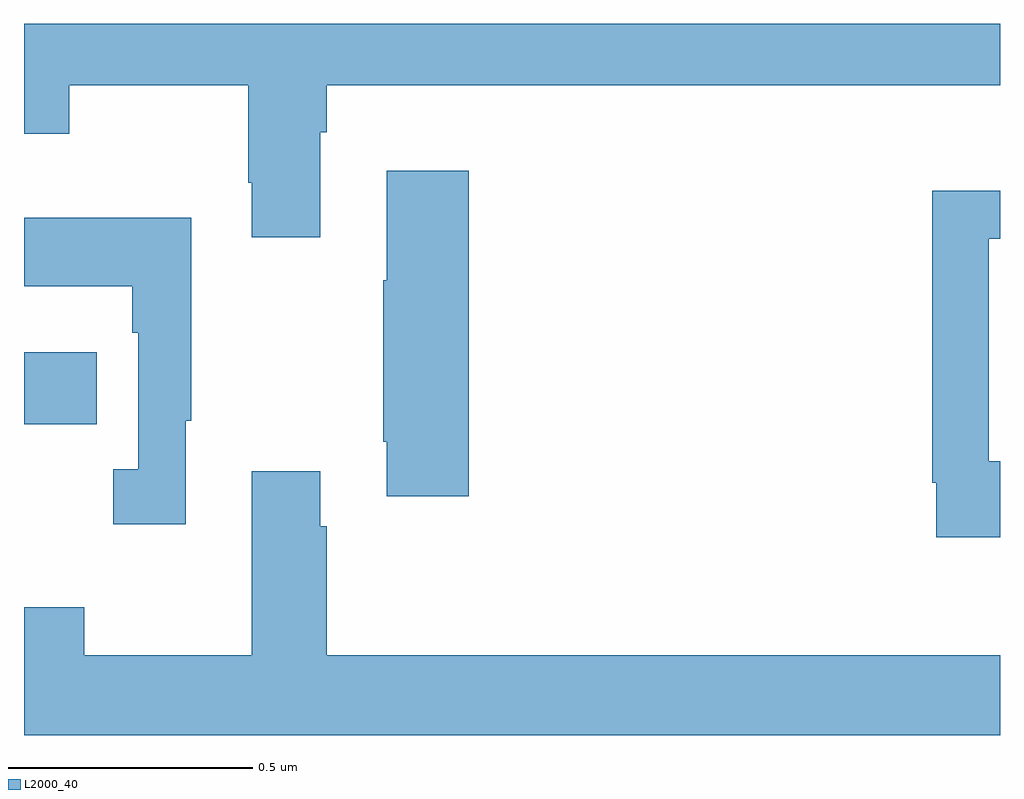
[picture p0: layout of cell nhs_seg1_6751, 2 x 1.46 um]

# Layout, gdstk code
import gdstk
lib = gdstk.Library(unit=1e-6, precision=1e-09)
def R(c, l, rs):  # rectangles x0, y0, x1, y1
    for r in rs: c.add(gdstk.rectangle(r[:2], r[2:], *l))
def P(c, l, *ps):  # polygons
    for p in ps: c.add(gdstk.Polygon(p, *l))
L2000_40 = (2000, 40)

nhs_seg1_6751 = lib.new_cell('nhs_seg1_6751')
R(nhs_seg1_6751, L2000_40, [(195,544.378,195.149,544.525)])
P(nhs_seg1_6751, L2000_40, [(195.607,544.976),(195.62,544.976),(195.62,545.072),(197,545.072),(197,545.199),(195,545.199),(195,544.973),(195.093,544.973),(195.093,545.072),(195.46,545.072),(195.46,544.873),(195.467,544.873),(195.467,544.761),(195.607,544.761)],
  [(195.911,544.897),(195.743,544.897),(195.743,544.673),(195.736,544.673),(195.736,544.342),(195.743,544.342),(195.743,544.23),(195.911,544.23)],
  [(197,544.302),(196.977,544.302),(196.977,544.758),(197,544.758),(197,544.856),(196.861,544.856),(196.861,544.258),(196.869,544.258),(196.869,544.146),(197,544.146)],
  [(195.331,544.385),(195.343,544.385),(195.343,544.801),(195,544.801),(195,544.661),(195.222,544.661),(195.222,544.565),(195.234,544.565),(195.234,544.286),(195.183,544.286),(195.183,544.173),(195.331,544.173)],
  [(197,543.904),(195.62,543.904),(195.62,544.169),(195.607,544.169),(195.607,544.282),(195.467,544.282),(195.467,543.904),(195.123,543.904),(195.123,544.003),(195,544.003),(195,543.74),(197,543.74)])

lib.write_gds('nhs_seg1_6751.gds')
